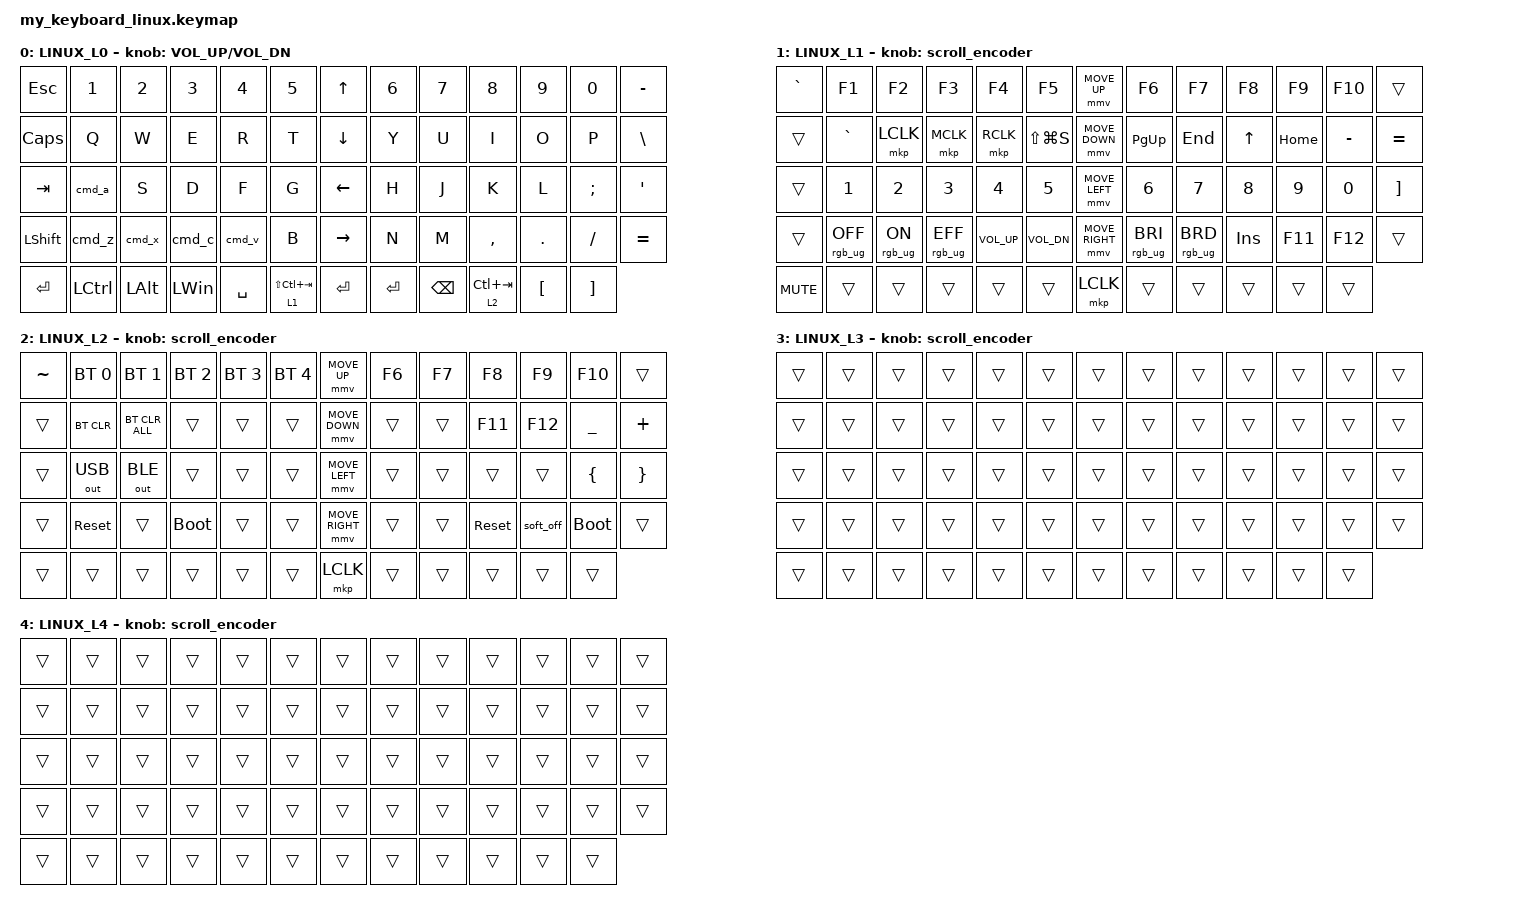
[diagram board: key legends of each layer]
#define ZMK_POINTING_DEFAULT_MOVE_VAL 1200  // 600
#define ZMK_POINTING_DEFAULT_SCRL_VAL 25   // 10

#include <input/processors.dtsi>
#include <zephyr/dt-bindings/input/input-event-codes.h>
#include <behaviors.dtsi>
#include <dt-bindings/zmk/bt.h>
#include <dt-bindings/zmk/keys.h>
#include <dt-bindings/zmk/outputs.h>
#include <dt-bindings/zmk/pointing.h>
#include <dt-bindings/zmk/rgb.h>

&mmv_input_listener { input-processors = <&zip_xy_scaler 2 1>; };

&msc_input_listener { input-processors = <&zip_scroll_scaler 2 1>; };

&msc {
    acceleration-exponent = <1>;      // 0
    time-to-max-speed-ms = <100>;       // 300
    delay-ms = <0>;                   // 0
};

&mmv {
    time-to-max-speed-ms = <500>;
    acceleration-exponent = <1>;
    trigger-period-ms = <16>;
};

&soft_off { hold-time-ms = <2000>; };

/ {
    behaviors {
        // Mac-style editing shortcuts at the firmware level: tapping the letter
        // alone sends the letter, but with GUI (Super) held it emits Ctrl+<key>.
        // mod-morph masks the triggering GUI by default, so the host sees a clean
        // Ctrl+C (not Super+Ctrl+C) -- no compositor key-injection, no lag. Shift
        // passes through, so GUI+Shift+Z -> Ctrl+Shift+Z (redo) for free. Only
        // C/V/X/Z/A morph, so every other Super+<key> shortcut is unaffected.
        cmd_c: cmd_c {
            compatible = "zmk,behavior-mod-morph";
            #binding-cells = <0>;
            bindings = <&kp C>, <&kp LC(C)>;   // copy
            mods = <(MOD_LGUI|MOD_RGUI)>;
        };

        cmd_v: cmd_v {
            compatible = "zmk,behavior-mod-morph";
            #binding-cells = <0>;
            bindings = <&kp V>, <&kp LC(V)>;   // paste
            mods = <(MOD_LGUI|MOD_RGUI)>;
        };

        cmd_x: cmd_x {
            compatible = "zmk,behavior-mod-morph";
            #binding-cells = <0>;
            bindings = <&kp X>, <&kp LC(X)>;   // cut
            mods = <(MOD_LGUI|MOD_RGUI)>;
        };

        cmd_z: cmd_z {
            compatible = "zmk,behavior-mod-morph";
            #binding-cells = <0>;
            bindings = <&kp Z>, <&kp LC(Z)>;   // undo (GUI+Shift+Z -> redo)
            mods = <(MOD_LGUI|MOD_RGUI)>;
        };

        cmd_a: cmd_a {
            compatible = "zmk,behavior-mod-morph";
            #binding-cells = <0>;
            bindings = <&kp A>, <&kp LC(A)>;   // select-all
            mods = <(MOD_LGUI|MOD_RGUI)>;
        };
    };

    scroll_encoder: scroll_encoder {
        compatible = "zmk,behavior-sensor-rotate";
        #sensor-binding-cells = <0>;
        bindings = <&msc SCRL_DOWN>, <&msc SCRL_UP>;

        tap-ms = <100>;
    };

    combos {
        compatible = "zmk,combos";

        softoff {
            bindings = <&soft_off>;
            key-positions = <14 28 40>;
        };

        tabback {
            bindings = <&kp LS(LC(TAB))>;
            key-positions = <30 29>;
        };

        tabForward {
            bindings = <&kp LC(TAB)>;
            key-positions = <34 35>;
        };

        // --- APP SWITCHING ---

        combo_gui_hold {
            bindings = <&kp LALT>;
            key-positions = <28 30>;
            layers = <0>;
        };

        // --- TAB MANAGEMENT ---

        combo_new_tab {
            bindings = <&kp LC(T)>;
            key-positions = <18 30>;
        };

        combo_close_tab {
            bindings = <&kp LC(W)>;
            key-positions = <15 30>;
        };

        combo_tab_plain {
            bindings = <&kp TAB>;
            key-positions = <34 36>;
        };
    };

    macros {
        SHIFT_MCLK: SHIFT_MCLK {
            compatible = "zmk,behavior-macro";
            #binding-cells = <0>;
            bindings =
                <&macro_press>,
                <&kp LEFT_SHIFT>,
                <&macro_press>,
                <&mkp MB3>,
                <&macro_pause_for_release>,
                <&macro_release>,
                <&kp LEFT_SHIFT &mkp MB3>;

            label = "SHIFT_MCLK";
        };
    };

    keymap {
        compatible = "zmk,keymap";

        layer0 {
            bindings = <
&kp ESC    &kp N1        &kp N2        &kp N3     &kp N4     &kp N5               &kp UP_ARROW     &kp N6     &kp N7         &kp N8         &kp N9            &kp N0             &kp MINUS
&kp CAPS   &kp Q         &kp W         &kp E      &kp R      &kp T                &kp DOWN_ARROW   &kp Y      &kp U          &kp I          &kp O             &kp P              &kp BSLH
&kp TAB    &cmd_a        &kp S         &kp D      &kp F      &kp G                &kp LEFT_ARROW   &kp H      &kp J          &kp K          &kp L             &kp SEMI           &kp APOS
&kp LSHFT  &cmd_z        &cmd_x        &cmd_c     &cmd_v     &kp B                &kp RIGHT_ARROW  &kp N      &kp M          &kp COMMA      &kp DOT           &kp FSLH           &kp EQUAL
&kp ENTER  &kp LCTRL  &kp LEFT_ALT  &kp LEFT_WIN  &kp SPACE  &lt 1 LS(LC(TAB))    &kp ENTER        &kp ENTER  &kp BACKSPACE  &lt 2 LC(TAB)  &kp LEFT_BRACKET  &kp RIGHT_BRACKET
            >;

            sensor-bindings = <&inc_dec_kp C_VOLUME_UP C_VOL_DN>;
            display-name = "LINUX_L0";
        };

        layer_1 {
            bindings = <
&kp GRAVE   &kp F1           &kp F2          &kp F3           &kp F4        &kp F5           &mmv MOVE_UP     &kp F6           &kp F7           &kp F8      &kp F9    &kp F10    &trans
&trans      &kp GRAVE        &mkp LCLK       &mkp MCLK        &mkp RCLK     &kp LS(LG(S))    &mmv MOVE_DOWN   &kp PG_UP        &kp END          &kp UP      &kp HOME  &kp MINUS  &kp EQUAL
&trans      &kp NUMBER_1     &kp NUMBER_2    &kp NUMBER_3     &kp NUMBER_4  &kp N5           &mmv MOVE_LEFT   &kp NUMBER_6     &kp N7           &kp N8      &kp N9    &kp N0     &kp RIGHT_BRACKET
&trans      &rgb_ug RGB_OFF  &rgb_ug RGB_ON  &rgb_ug RGB_EFF  &kp C_VOL_UP  &kp C_VOL_DN     &mmv MOVE_RIGHT  &rgb_ug RGB_BRI  &rgb_ug RGB_BRD  &kp INSERT  &kp F11   &kp F12    &trans
&kp C_MUTE  &trans           &trans          &trans           &trans        &trans           &mkp LCLK        &trans           &trans           &trans      &trans    &trans
            >;

            display-name = "LINUX_L1";
            sensor-bindings = <&scroll_encoder>;
        };

        layer_2 {
            bindings = <
&kp TILDE  &bt BT_SEL 0  &bt BT_SEL 1    &bt BT_SEL 2  &bt BT_SEL 3  &bt BT_SEL 4    &mmv MOVE_UP     &kp F6  &kp F7  &kp F8      &kp F9     &kp F10      &trans
&trans     &bt BT_CLR    &bt BT_CLR_ALL  &trans        &trans        &trans          &mmv MOVE_DOWN   &trans  &trans  &kp F11     &kp F12    &kp UNDER    &kp PLUS
&trans     &out OUT_USB  &out OUT_BLE    &trans        &trans        &trans          &mmv MOVE_LEFT   &trans  &trans  &trans      &trans     &kp LBRC     &kp RBRC
&trans     &sys_reset    &trans          &bootloader   &trans        &trans          &mmv MOVE_RIGHT  &trans  &trans  &sys_reset  &soft_off  &bootloader  &trans
&trans     &trans        &trans          &trans        &trans        &trans          &mkp LCLK        &trans  &trans  &trans      &trans     &trans
            >;

            display-name = "LINUX_L2";
            sensor-bindings = <&scroll_encoder>;
        };

        layer_3 {
            bindings = <
&trans  &trans  &trans  &trans  &trans  &trans    &trans  &trans  &trans  &trans  &trans  &trans  &trans
&trans  &trans  &trans  &trans  &trans  &trans    &trans  &trans  &trans  &trans  &trans  &trans  &trans
&trans  &trans  &trans  &trans  &trans  &trans    &trans  &trans  &trans  &trans  &trans  &trans  &trans
&trans  &trans  &trans  &trans  &trans  &trans    &trans  &trans  &trans  &trans  &trans  &trans  &trans
&trans  &trans  &trans  &trans  &trans  &trans    &trans  &trans  &trans  &trans  &trans  &trans
            >;

            display-name = "LINUX_L3";
            sensor-bindings = <&scroll_encoder>;
        };

        layer_4 {
            bindings = <
&trans  &trans  &trans  &trans  &trans  &trans    &trans  &trans  &trans  &trans  &trans  &trans  &trans
&trans  &trans  &trans  &trans  &trans  &trans    &trans  &trans  &trans  &trans  &trans  &trans  &trans
&trans  &trans  &trans  &trans  &trans  &trans    &trans  &trans  &trans  &trans  &trans  &trans  &trans
&trans  &trans  &trans  &trans  &trans  &trans    &trans  &trans  &trans  &trans  &trans  &trans  &trans
&trans  &trans  &trans  &trans  &trans  &trans    &trans  &trans  &trans  &trans  &trans  &trans
            >;

            display-name = "LINUX_L4";
            sensor-bindings = <&scroll_encoder>;
        };
    };
};
